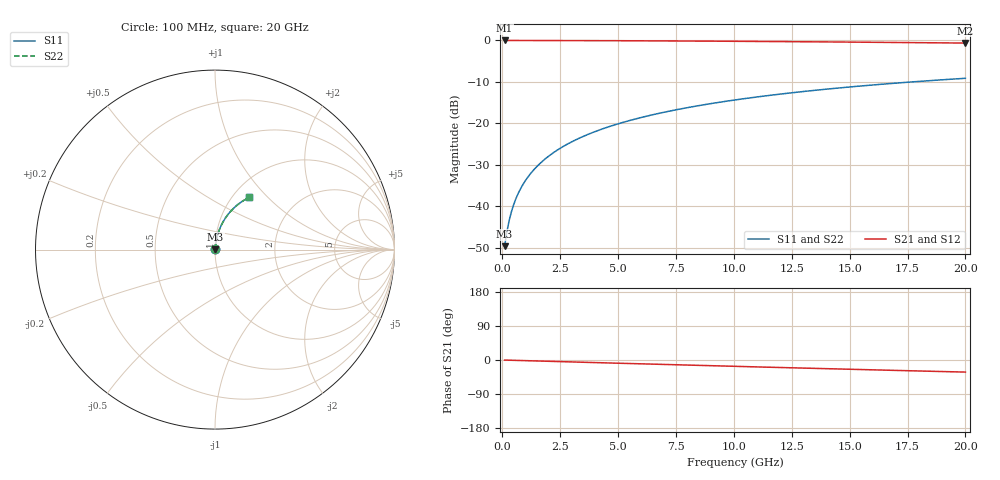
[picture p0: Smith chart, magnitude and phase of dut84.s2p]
! Touchstone file exported from HFSS 2026.1.0
!  File:  C:/ffzhzh/LocalFiles/Ansys_Project_Files/temp_train_TMRDL_84_1782881418_8056.aedt
!  Generated:  12:51:36 PM Jul  1, 2026
!  Design:  TMRDL
!  Project:  temp_train_TMRDL_84_1782881418_8056
! Variables:
!  h_bsmrdl = 2um
!  h_ox = 20um
!  h_rdl = 5um
!  h_sub = 80um
!  h_tmrdl = 3.86um
!  h_tsv = 80um
!  h_via = 3um
!  l_bsmrdl = 300um
!  l_sub = 813.04um
!  l_tmrdl = 413.04um
!  m_sub = 200um
!  pitch = 47.08um
!  r_tsv = 6um
!  s_tmrdl = 10um
!  w_bsmrdl = 18um
!  w_sub = 500um
!  w_tmrdl = 15.8um
!  x_tsv_center1 = 420.94um
!  x_tsv_center2 = 738.94um
!  x_tsv_center3 = 1167.78um
!  x_tsv_center4 = 1485.78um
!  x_tsv_center5 = 1914.62um
!  x_tsv_center6 = 2232.62um
# GHz S MA R 50.000000
! Terminal data exported
! Port[1] = TM_RDL1_1_T1
! Port[2] = TM_RDL1_1_T2
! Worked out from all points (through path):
!   200 points, 100 MHz to 20 GHz, reference 50 ohm
!   highest |S21| = -0.02 dB at 100 MHz (marker M1); lowest = -0.6 dB at 20 GHz (marker M2)
!   group delay of S21, straight-line fit = 4.44 ps
!   lowest |S11| = -49.6 dB at 100 MHz (marker M3), VSWR 1.01, Z = 50.3 + j0.212 ohm
!   |S11| at or under -10 dB: start of sweep to 17.74 GHz
!   |S22| runs from -49.6 to -9.1 dB; largest |S21 - S12| = 4.1e-15
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0.1  0.003298 39.7  0.9975 -0.2  0.9975 -0.2  0.003298 39.7
! Gamma 0 0 0 0
! Port Impedance 50 0 50 0
0.2  0.004936 57.9  0.9974 -0.4  0.9974 -0.4  0.004936 57.9
0.3  0.006793 66.3  0.9973 -0.5  0.9973 -0.5  0.006793 66.3
0.4  0.008707 70.9  0.9972 -0.7  0.9972 -0.7  0.008707 70.9
0.5  0.01064 73.8  0.9971 -0.9  0.9971 -0.9  0.01064 73.8
0.6  0.01258 75.8  0.9971 -1.0  0.9971 -1.0  0.01258 75.8
0.8  0.01648 78.3  0.9969 -1.4  0.9969 -1.4  0.01648 78.3
1.1  0.02237 80.3  0.9967 -1.9  0.9967 -1.9  0.02237 80.3
1.5  0.03026 81.4  0.9964 -2.6  0.9964 -2.6  0.03026 81.4
1.8  0.03618 81.8  0.9961 -3.1  0.9961 -3.1  0.03618 81.8
2.1  0.04211 81.9  0.9958 -3.6  0.9958 -3.6  0.04211 81.9
2.7  0.05392 81.6  0.995 -4.6  0.995 -4.6  0.05392 81.6
3.5  0.06958 80.9  0.9937 -6.0  0.9937 -6.0  0.06958 80.9
4.2  0.08317 80.0  0.9924 -7.1  0.9924 -7.1  0.08317 80.0
5  0.09854 78.9  0.9906 -8.5  0.9906 -8.5  0.09854 78.9
5.9  0.1156 77.5  0.9883 -10.0  0.9883 -10.0  0.1156 77.5
6.8  0.1325 76.2  0.9858 -11.5  0.9858 -11.5  0.1325 76.2
8.3  0.16 73.9  0.981 -13.9  0.981 -13.9  0.16 73.9
10.1  0.1921 71.1  0.9745 -16.8  0.9745 -16.8  0.1921 71.1
13.4  0.2483 66.2  0.9608 -22.0  0.9608 -22.0  0.2483 66.2
16.7  0.3006 61.3  0.9451 -27.1  0.9451 -27.1  0.3006 61.3
20  0.3489 56.6  0.928 -31.9  0.928 -31.9  0.3489 56.6
